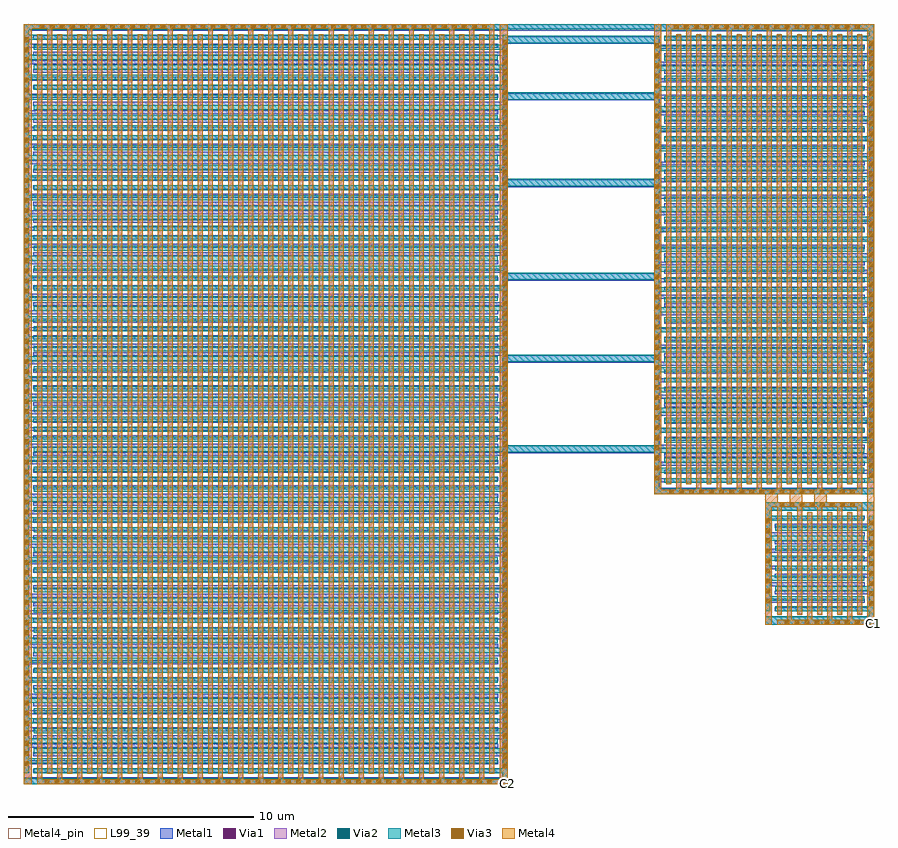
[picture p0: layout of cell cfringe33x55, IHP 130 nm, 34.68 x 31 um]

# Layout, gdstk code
from math import pi, radians
import gdstk
lib = gdstk.Library(unit=1e-6, precision=1e-09)
def R(c, l, rs):  # rectangles x0, y0, x1, y1
    for r in rs: c.add(gdstk.rectangle(r[:2], r[2:], *l))
def A(c, l, x, y, w, h, nx, ny, dx, dy):  # array of equal rectangles
    R(c, l, [(x+i*dx, y+j*dy, x+i*dx+w, y+j*dy+h) for i in range(nx) for j in range(ny)])
Metal1 = (8, 0)
Metal2 = (10, 0)
Via1 = (19, 0)
Via2 = (29, 0)
Metal3 = (30, 0)
Via3 = (49, 0)
Metal4 = (50, 0)
Metal4_pin = (50, 2)
L99_39 = (99, 39)

cap_mfringe = lib.new_cell('cap_mfringe')
A(cap_mfringe, Metal1, 0.55, 0, 0.16, 4.05, 6, 1, 0.68, 0)
A(cap_mfringe, Metal1, 0.89, 0.39, 0.16, 4.05, 6, 1, 0.68, 0)
R(cap_mfringe, Metal1, [(0,0,0.33,4.44), (0,0,4.45,0.21), (4.67,0,5,4.44), (0.55,4.23,5,4.44)])
A(cap_mfringe, Metal2, 0.42, 0.48, 4.58, 0.2, 1, 5, 0, 0.82)
A(cap_mfringe, Metal2, 0, 0.89, 4.58, 0.2, 1, 4, 0, 0.82)
R(cap_mfringe, Metal2, [(0,0,5,0.27), (0,0,0.205,3.96), (4.795,0.48,5,4.44), (0,4.17,5,4.44)])
A(cap_mfringe, Via1, 0.765, 0.01, 0.19, 0.19, 9, 1, 0.41, 0)
A(cap_mfringe, Via1, 0.01, 0.59, 0.19, 0.19, 1, 8, 0, 0.41)
A(cap_mfringe, Via1, 4.8, 0.79, 0.19, 0.19, 1, 8, 0, 0.41)
A(cap_mfringe, Via1, 0.865, 4.24, 0.19, 0.19, 9, 1, 0.41, 0)
A(cap_mfringe, Via2, 0.765, 0.005, 0.19, 0.19, 9, 1, 0.41, 0)
A(cap_mfringe, Via2, 0.005, 0.59, 0.19, 0.19, 1, 8, 0, 0.41)
A(cap_mfringe, Via2, 4.805, 0.79, 0.19, 0.19, 1, 8, 0, 0.41)
A(cap_mfringe, Via2, 0.865, 4.245, 0.19, 0.19, 9, 1, 0.41, 0)
A(cap_mfringe, Metal3, 0.555, 0, 0.2, 4.03, 5, 1, 0.82, 0)
A(cap_mfringe, Metal3, 0.965, 0.41, 0.2, 4.03, 5, 1, 0.82, 0)
R(cap_mfringe, Metal3, [(0,0,0.345,4.44), (0,0,4.445,0.2), (4.655,0,5,4.44), (0.555,4.24,5,4.44)])
A(cap_mfringe, Via3, 0.765, 0.005, 0.19, 0.19, 9, 1, 0.41, 0)
A(cap_mfringe, Via3, 0.005, 0.59, 0.19, 0.19, 1, 8, 0, 0.41)
A(cap_mfringe, Via3, 4.805, 0.79, 0.19, 0.19, 1, 8, 0, 0.41)
A(cap_mfringe, Via3, 0.865, 4.245, 0.19, 0.19, 9, 1, 0.41, 0)
A(cap_mfringe, Metal4, 0.41, 0.48, 4.59, 0.2, 1, 5, 0, 0.82)
A(cap_mfringe, Metal4, 0, 0.89, 4.59, 0.2, 1, 4, 0, 0.82)
R(cap_mfringe, Metal4, [(0,0,5,0.27), (0,0,0.2,3.96), (4.8,0.48,5,4.44), (0,4.17,5,4.44)])
R(cap_mfringe, Metal4_pin, [(0,2.12,0.2,2.32), (2.4,4.24,2.6,4.44)])
R(cap_mfringe, L99_39, [(0,0,5,4.44)])
cap_mfringe.add(gdstk.Label('cap_mfringe C=51.504fF', (0,-0.5), layer=63, texttype=0))

cap_mfringe_1 = lib.new_cell('cap_mfringe$1')
A(cap_mfringe_1, Metal1, 0.46, 0, 0.16, 19.34, 45, 1, 0.68, 0)
A(cap_mfringe_1, Metal1, 0.8, 0.39, 0.16, 19.34, 44, 1, 0.68, 0)
R(cap_mfringe_1, Metal1, [(0,0,0.28,19.73), (0,0,30.54,0.21), (30.72,0,31,19.73), (0.46,19.52,31,19.73)])
A(cap_mfringe_1, Metal2, 0.42, 0.54, 30.58, 0.2, 1, 23, 0, 0.82)
A(cap_mfringe_1, Metal2, 0, 0.95, 30.58, 0.2, 1, 23, 0, 0.82)
R(cap_mfringe_1, Metal2, [(0,0,31,0.33), (0,0,0.205,19.19), (30.795,0.54,31,19.73), (0,19.4,31,19.73)])
A(cap_mfringe_1, Via1, 0.85, 0.01, 0.19, 0.19, 72, 1, 0.41, 0)
A(cap_mfringe_1, Via1, 0.01, 0.65, 0.19, 0.19, 1, 45, 0, 0.41)
A(cap_mfringe_1, Via1, 30.8, 0.85, 0.19, 0.19, 1, 45, 0, 0.41)
A(cap_mfringe_1, Via1, 0.745, 19.53, 0.19, 0.19, 73, 1, 0.41, 0)
A(cap_mfringe_1, Via2, 0.645, 0.005, 0.19, 0.19, 73, 1, 0.41, 0)
A(cap_mfringe_1, Via2, 0.005, 0.65, 0.19, 0.19, 1, 45, 0, 0.41)
A(cap_mfringe_1, Via2, 30.805, 0.85, 0.19, 0.19, 1, 45, 0, 0.41)
A(cap_mfringe_1, Via2, 0.745, 19.535, 0.19, 0.19, 73, 1, 0.41, 0)
A(cap_mfringe_1, Metal3, 0.435, 0, 0.2, 19.32, 37, 1, 0.82, 0)
A(cap_mfringe_1, Metal3, 0.845, 0.41, 0.2, 19.32, 37, 1, 0.82, 0)
R(cap_mfringe_1, Metal3, [(0,0,0.225,19.73), (0,0,30.565,0.2), (30.775,0,31,19.73), (0.435,19.53,31,19.73)])
A(cap_mfringe_1, Via3, 0.645, 0.005, 0.19, 0.19, 73, 1, 0.41, 0)
A(cap_mfringe_1, Via3, 0.005, 0.65, 0.19, 0.19, 1, 45, 0, 0.41)
A(cap_mfringe_1, Via3, 30.805, 0.85, 0.19, 0.19, 1, 45, 0, 0.41)
A(cap_mfringe_1, Via3, 0.745, 19.535, 0.19, 0.19, 73, 1, 0.41, 0)
A(cap_mfringe_1, Metal4, 0.41, 0.54, 30.59, 0.2, 1, 23, 0, 0.82)
A(cap_mfringe_1, Metal4, 0, 0.95, 30.59, 0.2, 1, 23, 0, 0.82)
R(cap_mfringe_1, Metal4, [(0,0,31,0.33), (0,0,0.2,19.19), (30.8,0.54,31,19.73), (0,19.4,31,19.73)])
R(cap_mfringe_1, Metal4_pin, [(0,9.765,0.2,9.965), (15.4,19.53,15.6,19.73)])
R(cap_mfringe_1, L99_39, [(0,0,31,19.73)])
cap_mfringe_1.add(gdstk.Label('cap_mfringe C=1418.982fF', (0,-0.5), layer=63, texttype=0))

cap_mfringe_2 = lib.new_cell('cap_mfringe$2')
A(cap_mfringe_2, Metal1, 0.5, 0, 0.16, 8.57, 27, 1, 0.68, 0)
A(cap_mfringe_2, Metal1, 0.84, 0.39, 0.16, 8.57, 27, 1, 0.68, 0)
R(cap_mfringe_2, Metal1, [(0,0,0.28,8.96), (0,0,18.68,0.21), (18.9,0,19.18,8.96), (0.5,8.75,19.18,8.96)])
A(cap_mfringe_2, Metal2, 0.42, 0.485, 18.76, 0.2, 1, 10, 0, 0.82)
A(cap_mfringe_2, Metal2, 0, 0.895, 18.76, 0.2, 1, 10, 0, 0.82)
R(cap_mfringe_2, Metal2, [(0,0,19.18,0.275), (0,0,0.205,8.475), (18.975,0.485,19.18,8.96), (0,8.685,19.18,8.96)])
A(cap_mfringe_2, Via1, 0.885, 0.01, 0.19, 0.19, 43, 1, 0.41, 0)
A(cap_mfringe_2, Via1, 0.01, 0.595, 0.19, 0.19, 1, 19, 0, 0.41)
A(cap_mfringe_2, Via1, 18.98, 0.795, 0.19, 0.19, 1, 19, 0, 0.41)
A(cap_mfringe_2, Via1, 0.78, 8.76, 0.19, 0.19, 44, 1, 0.41, 0)
A(cap_mfringe_2, Via2, 0.68, 0.005, 0.19, 0.19, 44, 1, 0.41, 0)
A(cap_mfringe_2, Via2, 0.005, 0.595, 0.19, 0.19, 1, 19, 0, 0.41)
A(cap_mfringe_2, Via2, 18.985, 0.795, 0.19, 0.19, 1, 19, 0, 0.41)
A(cap_mfringe_2, Via2, 0.78, 8.765, 0.19, 0.19, 44, 1, 0.41, 0)
A(cap_mfringe_2, Metal3, 0.47, 0, 0.2, 8.55, 23, 1, 0.82, 0)
A(cap_mfringe_2, Metal3, 0.88, 0.41, 0.2, 8.55, 22, 1, 0.82, 0)
R(cap_mfringe_2, Metal3, [(0,0,0.26,8.96), (0,0,18.71,0.2), (18.92,0,19.18,8.96), (0.47,8.76,19.18,8.96)])
A(cap_mfringe_2, Via3, 0.68, 0.005, 0.19, 0.19, 44, 1, 0.41, 0)
A(cap_mfringe_2, Via3, 0.005, 0.595, 0.19, 0.19, 1, 19, 0, 0.41)
A(cap_mfringe_2, Via3, 18.985, 0.795, 0.19, 0.19, 1, 19, 0, 0.41)
A(cap_mfringe_2, Via3, 0.78, 8.765, 0.19, 0.19, 44, 1, 0.41, 0)
A(cap_mfringe_2, Metal4, 0.41, 0.485, 18.77, 0.2, 1, 10, 0, 0.82)
A(cap_mfringe_2, Metal4, 0, 0.895, 18.77, 0.2, 1, 10, 0, 0.82)
R(cap_mfringe_2, Metal4, [(0,0,19.18,0.275), (0,0,0.2,8.475), (18.98,0.485,19.18,8.96), (0,8.685,19.18,8.96)])
R(cap_mfringe_2, Metal4_pin, [(0,4.38,0.2,4.58), (9.49,8.76,9.69,8.96)])
R(cap_mfringe_2, L99_39, [(0,0,19.18,8.96)])
cap_mfringe_2.add(gdstk.Label('cap_mfringe C=398.698fF', (0,-0.5), layer=63, texttype=0))

cfringe33x55 = lib.new_cell('cfringe33x55')
cfringe33x55.add(gdstk.FlexPath([(5.3,85.23),(20.25,85.23)], 0.26, ends="flush", simple_path=True, layer=8, datatype=0))  # Metal1
cfringe33x55.add(gdstk.FlexPath([(11.5,84.71),(5.09,84.71)], 0.3, ends="flush", simple_path=True, layer=8, datatype=0))  # Metal1
cfringe33x55.add(gdstk.FlexPath([(11.5,82.4),(5.09,82.4)], 0.3, ends="flush", simple_path=True, layer=8, datatype=0))  # Metal1
cfringe33x55.add(gdstk.FlexPath([(11.5,78.87),(5.09,78.87)], 0.3, ends="flush", simple_path=True, layer=8, datatype=0))  # Metal1
cfringe33x55.add(gdstk.FlexPath([(11.5,75.05),(5.09,75.05)], 0.3, ends="flush", simple_path=True, layer=8, datatype=0))  # Metal1
cfringe33x55.add(gdstk.FlexPath([(11.5,71.705),(5.09,71.705)], 0.3, ends="flush", simple_path=True, layer=8, datatype=0))  # Metal1
cfringe33x55.add(gdstk.FlexPath([(11.5,68.015),(5.09,68.015)], 0.3, ends="flush", simple_path=True, layer=8, datatype=0))  # Metal1
cfringe33x55.add(gdstk.FlexPath([(5.3,85.255),(20.25,85.255)], 0.21, ends="flush", simple_path=True, layer=30, datatype=0))  # Metal3
cfringe33x55.add(gdstk.FlexPath([(11.49,84.74),(5.1,84.74)], 0.3, ends="flush", simple_path=True, layer=30, datatype=0))  # Metal3
cfringe33x55.add(gdstk.FlexPath([(11.49,82.43),(5.1,82.43)], 0.3, ends="flush", simple_path=True, layer=30, datatype=0))  # Metal3
cfringe33x55.add(gdstk.FlexPath([(11.49,78.9),(5.1,78.9)], 0.3, ends="flush", simple_path=True, layer=30, datatype=0))  # Metal3
cfringe33x55.add(gdstk.FlexPath([(11.49,75.08),(5.1,75.08)], 0.3, ends="flush", simple_path=True, layer=30, datatype=0))  # Metal3
cfringe33x55.add(gdstk.FlexPath([(11.49,71.735),(5.1,71.735)], 0.3, ends="flush", simple_path=True, layer=30, datatype=0))  # Metal3
cfringe33x55.add(gdstk.FlexPath([(11.49,68.045),(5.1,68.045)], 0.3, ends="flush", simple_path=True, layer=30, datatype=0))  # Metal3
cfringe33x55.add(gdstk.FlexPath([(20.115,66.18),(20.115,65.87)], 0.27, ends="flush", simple_path=True, layer=50, datatype=0))  # Metal4
cfringe33x55.add(gdstk.FlexPath([(16.06,65.87),(16.06,66.18),(16.06,66.18)], 0.5, ends="flush", simple_path=True, layer=50, datatype=0))  # Metal4
cfringe33x55.add(gdstk.FlexPath([(17.06,65.87),(17.06,66.18),(17.06,66.18)], 0.5, ends="flush", simple_path=True, layer=50, datatype=0))  # Metal4
cfringe33x55.add(gdstk.FlexPath([(18.06,65.87),(18.06,66.18),(18.06,66.18)], 0.5, ends="flush", simple_path=True, layer=50, datatype=0))  # Metal4
cfringe33x55.add(gdstk.FlexPath([(5.3,54.47),(4.24,54.47)], 0.2, ends="flush", simple_path=True, layer=50, datatype=2))  # Metal4_pin
cfringe33x55.add(gdstk.FlexPath([(20.25,60.97),(19.765,60.97)], 0.2, ends="flush", simple_path=True, layer=50, datatype=2))  # Metal4_pin
r = gdstk.Reference(cap_mfringe, (20.25,60.87), rotation=pi/2); r.repetition = gdstk.Repetition(1, 1, v1=(0,0), v2=(0,0)); cfringe33x55.add(r)
r = gdstk.Reference(cap_mfringe_1, (5.3,54.37), rotation=pi/2); r.repetition = gdstk.Repetition(1, 1, v1=(0,0), v2=(0,0)); cfringe33x55.add(r)
r = gdstk.Reference(cap_mfringe_2, (20.25,85.36), rotation=3*pi/2, x_reflection=True); r.repetition = gdstk.Repetition(1, 1, v1=(0,0), v2=(0,0)); cfringe33x55.add(r)
cfringe33x55.add(gdstk.Label('C2', (5.28,54.385), layer=50, texttype=25))
cfringe33x55.add(gdstk.Label('C1', (20.23,60.925), layer=50, texttype=25))

lib.write_gds('cfringe33x55.gds')
